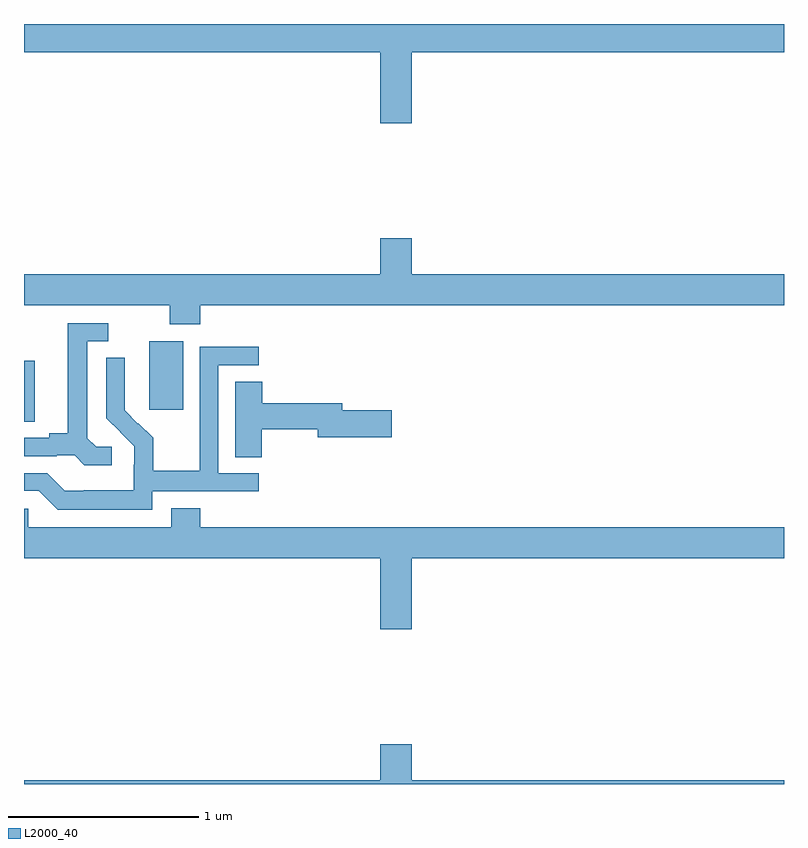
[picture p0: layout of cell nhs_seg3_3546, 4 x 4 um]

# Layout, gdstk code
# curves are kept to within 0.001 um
import gdstk
lib = gdstk.Library(unit=1e-6, precision=1e-09)
def R(c, l, rs):  # rectangles x0, y0, x1, y1
    for r in rs: c.add(gdstk.rectangle(r[:2], r[2:], *l))
def P(c, l, *ps):  # polygons
    for p in ps: c.add(gdstk.Polygon(p, *l))
L2000_40 = (2000, 40)

nhs_seg3_3546 = lib.new_cell('nhs_seg3_3546')
R(nhs_seg3_3546, L2000_40, [(295,696.307,295.057,696.627), (295.658,696.369,295.837,696.73)])
P(nhs_seg3_3546, L2000_40, [(297.04,698.252),(299,698.252),(299,698.4),(295,698.4),(295,698.252),(296.876,698.252),(296.876,697.878),(297.04,697.878)],
  [(295.928,696.92),(299,696.92),(299,697.084),(297.04,697.084),(297.04,697.273),(296.876,697.273),(296.876,697.084),(295,697.084),(295,696.92),(295.768,696.92),(295.768,696.821),(295.928,696.821)],
  [(295.462,696.174),(295.38,696.174),(295.333,696.221),(295.333,696.729),(295.444,696.729),(295.444,696.825),(295.229,696.825),(295.229,696.245),(295.133,696.245),(295.133,696.222),(295,696.222),(295,696.126),(295.172,696.126),(295.172,696.129),(295.266,696.129),(295.318,696.077),(295.462,696.077)],
  [(295.674,695.94),(296.236,695.94),(296.236,696.036),(296.022,696.036),(296.022,696.603),(296.236,696.603),(296.236,696.702),(295.926,696.702),(295.926,696.272),(295.924,696.272),(295.924,696.049),(295.679,696.049),(295.679,696.223),(295.602,696.3),(295.599,696.297),(295.529,696.368),(295.53,696.644),(295.434,696.644),(295.434,696.326),(295.58,696.178),(295.58,696.081),(295.578,696.081),(295.578,695.947),(295.315,695.947),(295.315,695.943),(295.215,695.943),(295.122,696.036),(295,696.036),(295,695.943),(295.077,695.943),(295.177,695.843),(295.674,695.843)],
  [(296.25,696.268),(296.546,696.268),(296.546,696.226),(296.935,696.226),(296.935,696.368),(296.674,696.368),(296.674,696.404),(296.255,696.404),(296.255,696.518),(296.111,696.518),(296.111,696.121),(296.25,696.121)],
  [(297.04,695.588),(299,695.588),(299,695.752),(295.928,695.752),(295.928,695.851),(295.775,695.851),(295.775,695.752),(295.023,695.752),(295.023,695.85),(295,695.85),(295,695.588),(296.876,695.588),(296.876,695.214),(297.04,695.214)],
  [(299,694.42),(297.04,694.42),(297.04,694.609),(296.876,694.609),(296.876,694.42),(295,694.42),(295,694.4),(299,694.4)])

lib.write_gds('nhs_seg3_3546.gds')
